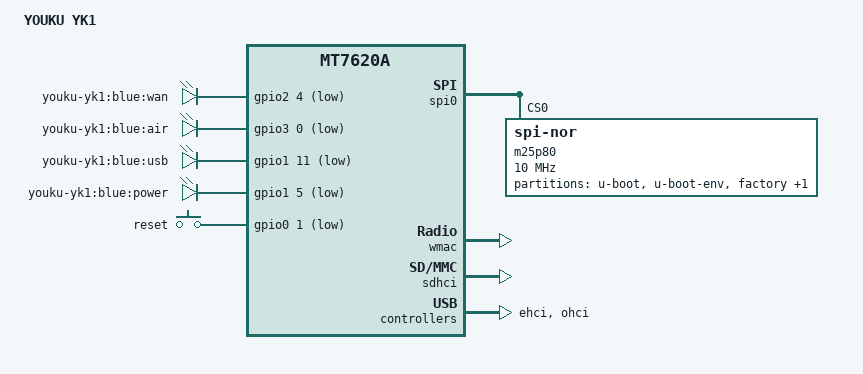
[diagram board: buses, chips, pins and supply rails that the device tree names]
/dts-v1/;

#include "mt7620a.dtsi"

/ {
	compatible = "YOUKU-YK1", "ralink,mt7620a-soc";
	model = "YOUKU YK1";

	gpio-leds {
		compatible = "gpio-leds";
		wan {
			label = "youku-yk1:blue:wan";
			gpios = <&gpio2 4 1>;
		};
		air {
			label = "youku-yk1:blue:air";
			gpios = <&gpio3 0 1>;
		};
		usb {
			label = "youku-yk1:blue:usb";
			gpios = <&gpio1 11 1>;
		};
		power {
			label = "youku-yk1:blue:power";
			gpios = <&gpio1 5 1>;
		};
	};

	gpio-keys-polled {
		compatible = "gpio-keys-polled";
		#address-cells = <1>;
		#size-cells = <0>;
		poll-interval = <20>;
		reset {
			label = "reset";
			gpios = <&gpio0 1 1>;
			linux,code = <0x198>;
		};
	};
};

&gpio0 {
	status = "okay";
};

&gpio1 {
	status = "okay";
};

&gpio2 {
	status = "okay";
};

&gpio3 {
	status = "okay";
};

&spi0 {
	status = "okay";

	m25p80@0 {
		#address-cells = <1>;
		#size-cells = <1>;
		compatible = "jedec,spi-nor";
		reg = <0>;
		linux,modalias = "m25p80", "w25q256";
		spi-max-frequency = <10000000>;

		partition@0 {
			label = "u-boot";
			reg = <0x0 0x30000>;
			read-only;
		};

		partition@30000 {
			label = "u-boot-env";
			reg = <0x30000 0x10000>;
			read-only;
		};

		factory: partition@40000 {
			label = "factory";
			reg = <0x40000 0x10000>;
			read-only;
		};

		partition@50000 {
			label = "firmware";
			reg = <0x50000 0x1fb0000>;
		};
	};
};

&pinctrl {
	state_default: pinctrl0 {
		default {
			ralink,group = "i2c", "uartf", "rgmii1", "rgmii2", "ephy", "wled", "nd_sd";
			ralink,function = "gpio";
		};
	};
};

&ethernet {
	pinctrl-names = "default";
	pinctrl-0 = <&ephy_pins>;
	mtd-mac-address = <&factory 0x4>;
	mediatek,portmap = "llllw";
};

&wmac {
	ralink,mtd-eeprom = <&factory 0>;
};

&sdhci {
	status = "okay";
};

&ehci {
	status = "okay";
};

&ohci {
	status = "okay";
};
